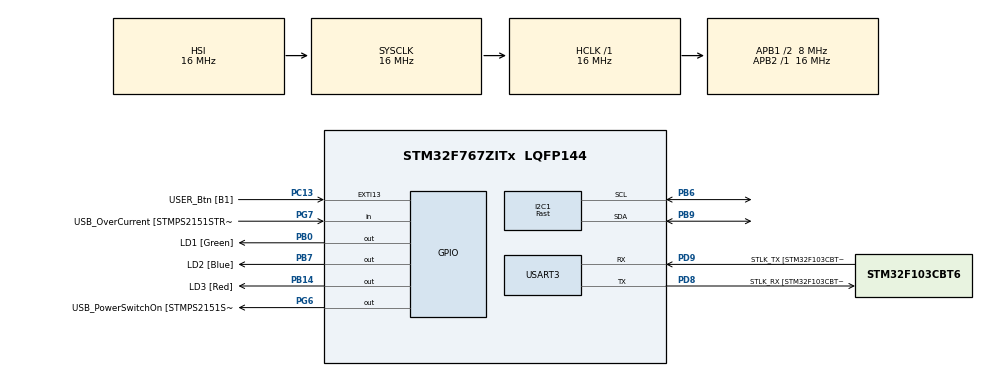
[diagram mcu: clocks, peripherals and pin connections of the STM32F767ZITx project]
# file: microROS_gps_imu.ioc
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FREERTOS.Tasks01=microROS_tx,24,3000,tx_data,Default,NULL,Dynamic,NULL,NULL;data_aq,24,256,getData,Default,NULL,Dynamic,NULL,NULL
I2C1.I2C_Speed_Mode=I2C_Fast
I2C1.Timing=0x0000020B
Mcu.Family=STM32F7
Mcu.Name=STM32F767ZITx
Mcu.Package=LQFP144
NVIC.PriorityGroup=NVIC_PRIORITYGROUP_4
NVIC.TIM6_DAC_IRQn=true\:15\:0\:false\:false\:true\:false\:false\:true\:true
NVIC.TimeBase=TIM6_DAC_IRQn
NVIC.TimeBaseIP=TIM6
NVIC.USART3_IRQn=true\:5\:0\:false\:false\:true\:true\:true\:true\:true
PA1.GPIO_Label=RMII_REF_CLK [LAN8742A-CZ-TR_REFCLK0]
PA1.Signal=ETH_REF_CLK
PA10.GPIO_Label=USB_ID
PA10.Signal=USB_OTG_FS_ID
PA11.GPIO_Label=USB_DM
PA11.Signal=USB_OTG_FS_DM
PA12.GPIO_Label=USB_DP
PA12.Signal=USB_OTG_FS_DP
PA13.GPIO_Label=TMS
PA13.Signal=SYS_JTMS-SWDIO
PA14.GPIO_Label=TCK
PA14.Signal=SYS_JTCK-SWCLK
PA2.GPIO_Label=RMII_MDIO [LAN8742A-CZ-TR_MDIO]
PA2.Signal=ETH_MDIO
PA7.GPIO_Label=RMII_CRS_DV [LAN8742A-CZ-TR_CRS_DV]
PA7.Signal=ETH_CRS_DV
PA8.GPIO_Label=USB_SOF [TP1]
PA8.Signal=USB_OTG_FS_SOF
PA9.GPIO_Label=USB_VBUS
PA9.Signal=USB_OTG_FS_VBUS
PB0.GPIO_Label=LD1 [Green]
PB0.Signal=GPIO_Output
PB13.GPIO_Label=RMII_TXD1 [LAN8742A-CZ-TR_TXD1]
PB13.Signal=ETH_TXD1
PB14.GPIO_Label=LD3 [Red]
PB14.Signal=GPIO_Output
PB3.GPIO_Label=SW0
PB3.Signal=SYS_JTDO-SWO
PB6.Mode=I2C
PB6.Signal=I2C1_SCL
PB7.GPIO_Label=LD2 [Blue]
PB7.Signal=GPIO_Output
PB9.Mode=I2C
PB9.Signal=I2C1_SDA
PC1.GPIO_Label=RMII_MDC [LAN8742A-CZ-TR_MDC]
PC1.Signal=ETH_MDC
PC13.GPIO_Label=USER_Btn [B1]
PC13.Signal=GPXTI13
PC14/OSC32_IN.Signal=RCC_OSC32_IN
PC15/OSC32_OUT.Signal=RCC_OSC32_OUT
PC4.GPIO_Label=RMII_RXD0 [LAN8742A-CZ-TR_RXD0]
PC4.Signal=ETH_RXD0
PC5.GPIO_Label=RMII_RXD1 [LAN8742A-CZ-TR_RXD1]
PC5.Signal=ETH_RXD1
PD8.GPIO_Label=STLK_RX [STM32F103CBT6_PA3]
PD8.Mode=Asynchronous
PD8.Signal=USART3_TX
PD9.GPIO_Label=STLK_TX [STM32F103CBT6_PA2]
PD9.Mode=Asynchronous
PD9.Signal=USART3_RX
PG11.GPIO_Label=RMII_TX_EN [LAN8742A-CZ-TR_TXEN]
PG11.Signal=ETH_TX_EN
PG13.GPIO_Label=RMII_TXD0 [LAN8742A-CZ-TR_TXD0]
PG13.Signal=ETH_TXD0
PG6.GPIO_Label=USB_PowerSwitchOn [STMPS2151STR_EN]
PG6.Signal=GPIO_Output
PG7.GPIO_Label=USB_OverCurrent [STMPS2151STR_FAULT]
PG7.Signal=GPIO_Input
PH0/OSC_IN.GPIO_Label=MCO [STM32F103CBT6_PA8]
PH0/OSC_IN.Signal=RCC_OSC_IN
PH1/OSC_OUT.Signal=RCC_OSC_OUT
ProjectManager.HeapSize=0x200
ProjectManager.StackSize=0x400
ProjectManager.TargetToolchain=STM32CubeIDE
RCC.48MHZClocksFreq_Value=24000000
RCC.AHBFreq_Value=16000000
RCC.APB1CLKDivider=RCC_HCLK_DIV2
RCC.APB1Freq_Value=8000000
RCC.APB1TimFreq_Value=16000000
RCC.APB2Freq_Value=16000000
RCC.APB2TimFreq_Value=16000000
RCC.CortexFreq_Value=16000000
RCC.HCLKFreq_Value=16000000
RCC.HSE_VALUE=16000000
RCC.HSI_VALUE=16000000
RCC.LSE_VALUE=32768
RCC.PLLMUL=RCC_PLL_MUL9
RCC.PRESCALERUSB=RCC_USBCLKSOURCE_PLL_DIV1_5
RCC.SYSCLKFreq_VALUE=16000000
RCC.SYSCLKSourceVirtual=RCC_SYSCLKSOURCE_PLLCLK
RCC.USBFreq_Value=96000000
RCC.VCOOutputFreq_Value=192000000
USART3.VirtualMode-Asynchronous=VM_ASYNC
VP_FREERTOS_VS_CMSIS_V2.Mode=CMSIS_V2
VP_SYS_VS_tim6.Mode=TIM6
board=NUCLEO-F767ZI

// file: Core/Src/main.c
/* USER CODE BEGIN Header */
/**
  ******************************************************************************
  * @file           : main.c
  * @brief          : Main program body
  ******************************************************************************
  * @attention
  *
  * Copyright (c) 2023 STMicroelectronics.
  * All rights reserved.
  *
  * This software is licensed under terms that can be found in the LICENSE file
  * in the root directory of this software component.
  * If no LICENSE file comes with this software, it is provided AS-IS.
  *
  ******************************************************************************
  */
/* USER CODE END Header */
#include "main.h"
#include "cmsis_os.h"
#include <stdlib.h>

/* USER CODE BEGIN Includes */
#include "MPU_6050.h"

#include <rcl/rcl.h>
#include <rcl/error_handling.h>
#include <rclc/rclc.h>
#include <rclc/executor.h>
#include <uxr/client/transport.h>
#include <rmw_microxrcedds_c/config.h>
#include <rmw_microros/rmw_microros.h>

#include <std_msgs/msg/int32.h>
#include <std_msgs/msg/u_int8.h>
#include <example_interfaces/msg/float32.h>
#include <example_interfaces/msg/u_int8_multi_array.h>
#include <example_interfaces/msg/u_int8.h>

/* USER CODE END Includes */

I2C_HandleTypeDef hi2c1;

UART_HandleTypeDef huart3;

/* Definitions for microROS_tx */
osThreadId_t microROS_txHandle;
const osThreadAttr_t microROS_tx_attributes = {
  .name = "microROS_tx",
  .stack_size = 3000 * 4,
  .priority = (osPriority_t) osPriorityNormal,
};
/* Definitions for data_aq */
osThreadId_t data_aqHandle;
const osThreadAttr_t data_aq_attributes = {
  .name = "data_aq",
  .stack_size = 256 * 4,
  .priority = (osPriority_t) osPriorityNormal,
};

void SystemClock_Config(void);
static void MX_GPIO_Init(void);
static void MX_USART3_UART_Init(void);
static void MX_I2C1_Init(void);
void tx_data(void *argument);
void getData(void *argument);

/* USER CODE BEGIN 0 */
/* instantiating mpu_6050_t struct */
mpu_6050_t my_imu;

example_interfaces__msg__UInt8__Sequence ui_array;

example_interfaces__msg__UInt8MultiArray multi_ui_array;

typedef enum
{
	NOT_SEND_DATA,
	SEND_DATA,
}sendData;

uint8_t TX_DATA = NOT_SEND_DATA;

/* USER CODE END 0 */

int main(void)
{

  /* MCU Configuration--------------------------------------------------------*/

  /* Reset of all peripherals, Initializes the Flash interface and the Systick. */
  HAL_Init();

  /* Configure the system clock */
  SystemClock_Config();

  /* Initialize all configured peripherals */
  MX_GPIO_Init();
  MX_USART3_UART_Init();
  MX_I2C1_Init();
  /* USER CODE BEGIN 2 */
	init_MPU_6050(&my_imu, &hi2c1);

	wake(&my_imu);

	set_Sample_Rt(&my_imu);

	accel_Gyro_Config(&my_imu);

	ui_array.data = (example_interfaces__msg__UInt8*)
					malloc(6 * sizeof(example_interfaces__msg__UInt8));

  /* USER CODE END 2 */

  /* Init scheduler */
  osKernelInitialize();

  /* Create the thread(s) */
  /* creation of microROS_tx */
  microROS_txHandle = osThreadNew(tx_data, NULL, &microROS_tx_attributes);

  /* creation of data_aq */
  data_aqHandle = osThreadNew(getData, NULL, &data_aq_attributes);

  /* Start scheduler */
  osKernelStart();

  /* We should never get here as control is now taken by the scheduler */
  /* Infinite loop */
  while (1)
  {

  }
}

void SystemClock_Config(void)
{
  RCC_OscInitTypeDef RCC_OscInitStruct = {0};
  RCC_ClkInitTypeDef RCC_ClkInitStruct = {0};

  /** Configure the main internal regulator output voltage
  */
  __HAL_RCC_PWR_CLK_ENABLE();
  __HAL_PWR_VOLTAGESCALING_CONFIG(PWR_REGULATOR_VOLTAGE_SCALE3);

  /** Initializes the RCC Oscillators according to the specified parameters
  * in the RCC_OscInitTypeDef structure.
  */
  RCC_OscInitStruct.OscillatorType = RCC_OSCILLATORTYPE_HSI;
  RCC_OscInitStruct.HSIState = RCC_HSI_ON;
  RCC_OscInitStruct.HSICalibrationValue = RCC_HSICALIBRATION_DEFAULT;
  RCC_OscInitStruct.PLL.PLLState = RCC_PLL_NONE;
  if (HAL_RCC_OscConfig(&RCC_OscInitStruct) != HAL_OK)
  {
    Error_Handler();
  }

  /** Initializes the CPU, AHB and APB buses clocks
  */
  RCC_ClkInitStruct.ClockType = RCC_CLOCKTYPE_HCLK|RCC_CLOCKTYPE_SYSCLK
                              |RCC_CLOCKTYPE_PCLK1|RCC_CLOCKTYPE_PCLK2;
  RCC_ClkInitStruct.SYSCLKSource = RCC_SYSCLKSOURCE_HSI;
  RCC_ClkInitStruct.AHBCLKDivider = RCC_SYSCLK_DIV1;
  RCC_ClkInitStruct.APB1CLKDivider = RCC_HCLK_DIV2;
  RCC_ClkInitStruct.APB2CLKDivider = RCC_HCLK_DIV1;

  if (HAL_RCC_ClockConfig(&RCC_ClkInitStruct, FLASH_LATENCY_0) != HAL_OK)
  {
    Error_Handler();
  }
}

static void MX_I2C1_Init(void)
{

  hi2c1.Instance = I2C1;
  hi2c1.Init.Timing = 0x0000020B;
  hi2c1.Init.OwnAddress1 = 0;
  hi2c1.Init.AddressingMode = I2C_ADDRESSINGMODE_7BIT;
  hi2c1.Init.DualAddressMode = I2C_DUALADDRESS_DISABLE;
  hi2c1.Init.OwnAddress2 = 0;
  hi2c1.Init.OwnAddress2Masks = I2C_OA2_NOMASK;
  hi2c1.Init.GeneralCallMode = I2C_GENERALCALL_DISABLE;
  hi2c1.Init.NoStretchMode = I2C_NOSTRETCH_DISABLE;
  if (HAL_I2C_Init(&hi2c1) != HAL_OK)
  {
    Error_Handler();
  }

  /** Configure Analogue filter
  */
  if (HAL_I2CEx_ConfigAnalogFilter(&hi2c1, I2C_ANALOGFILTER_ENABLE) != HAL_OK)
  {
    Error_Handler();
  }

  /** Configure Digital filter
  */
  if (HAL_I2CEx_ConfigDigitalFilter(&hi2c1, 0) != HAL_OK)
  {
    Error_Handler();
  }

}

static void MX_USART3_UART_Init(void)
{

  huart3.Instance = USART3;
  huart3.Init.BaudRate = 115200;
  huart3.Init.WordLength = UART_WORDLENGTH_8B;
  huart3.Init.StopBits = UART_STOPBITS_1;
  huart3.Init.Parity = UART_PARITY_NONE;
  huart3.Init.Mode = UART_MODE_TX_RX;
  huart3.Init.HwFlowCtl = UART_HWCONTROL_NONE;
  huart3.Init.OverSampling = UART_OVERSAMPLING_16;
  huart3.Init.OneBitSampling = UART_ONE_BIT_SAMPLE_DISABLE;
  huart3.AdvancedInit.AdvFeatureInit = UART_ADVFEATURE_NO_INIT;
  if (HAL_UART_Init(&huart3) != HAL_OK)
  {
    Error_Handler();
  }

}

static void MX_GPIO_Init(void)
{
  GPIO_InitTypeDef GPIO_InitStruct = {0};

  /* GPIO Ports Clock Enable */
  __HAL_RCC_GPIOC_CLK_ENABLE();
  __HAL_RCC_GPIOH_CLK_ENABLE();
  __HAL_RCC_GPIOA_CLK_ENABLE();
  __HAL_RCC_GPIOB_CLK_ENABLE();
  __HAL_RCC_GPIOD_CLK_ENABLE();
  __HAL_RCC_GPIOG_CLK_ENABLE();

  /*Configure GPIO pin Output Level */
  HAL_GPIO_WritePin(GPIOB, LD1_Pin|LD3_Pin|LD2_Pin, GPIO_PIN_RESET);

  /*Configure GPIO pin Output Level */
  HAL_GPIO_WritePin(USB_PowerSwitchOn_GPIO_Port, USB_PowerSwitchOn_Pin, GPIO_PIN_RESET);

  /*Configure GPIO pin : USER_Btn_Pin */
  GPIO_InitStruct.Pin = USER_Btn_Pin;
  GPIO_InitStruct.Mode = GPIO_MODE_IT_RISING;
  GPIO_InitStruct.Pull = GPIO_NOPULL;
  HAL_GPIO_Init(USER_Btn_GPIO_Port, &GPIO_InitStruct);

  /*Configure GPIO pins : RMII_MDC_Pin RMII_RXD0_Pin RMII_RXD1_Pin */
  GPIO_InitStruct.Pin = RMII_MDC_Pin|RMII_RXD0_Pin|RMII_RXD1_Pin;
  GPIO_InitStruct.Mode = GPIO_MODE_AF_PP;
  GPIO_InitStruct.Pull = GPIO_NOPULL;
  GPIO_InitStruct.Speed = GPIO_SPEED_FREQ_VERY_HIGH;
  GPIO_InitStruct.Alternate = GPIO_AF11_ETH;
  HAL_GPIO_Init(GPIOC, &GPIO_InitStruct);

  /*Configure GPIO pins : RMII_REF_CLK_Pin RMII_MDIO_Pin RMII_CRS_DV_Pin */
  GPIO_InitStruct.Pin = RMII_REF_CLK_Pin|RMII_MDIO_Pin|RMII_CRS_DV_Pin;
  GPIO_InitStruct.Mode = GPIO_MODE_AF_PP;
  GPIO_InitStruct.Pull = GPIO_NOPULL;
  GPIO_InitStruct.Speed = GPIO_SPEED_FREQ_VERY_HIGH;
  GPIO_InitStruct.Alternate = GPIO_AF11_ETH;
  HAL_GPIO_Init(GPIOA, &GPIO_InitStruct);

  /*Configure GPIO pins : LD1_Pin LD3_Pin LD2_Pin */
  GPIO_InitStruct.Pin = LD1_Pin|LD3_Pin|LD2_Pin;
  GPIO_InitStruct.Mode = GPIO_MODE_OUTPUT_PP;
  GPIO_InitStruct.Pull = GPIO_NOPULL;
  GPIO_InitStruct.Speed = GPIO_SPEED_FREQ_LOW;
  HAL_GPIO_Init(GPIOB, &GPIO_InitStruct);

  /*Configure GPIO pin : RMII_TXD1_Pin */
  GPIO_InitStruct.Pin = RMII_TXD1_Pin;
  GPIO_InitStruct.Mode = GPIO_MODE_AF_PP;
  GPIO_InitStruct.Pull = GPIO_NOPULL;
  GPIO_InitStruct.Speed = GPIO_SPEED_FREQ_VERY_HIGH;
  GPIO_InitStruct.Alternate = GPIO_AF11_ETH;
  HAL_GPIO_Init(RMII_TXD1_GPIO_Port, &GPIO_InitStruct);

  /*Configure GPIO pin : USB_PowerSwitchOn_Pin */
  GPIO_InitStruct.Pin = USB_PowerSwitchOn_Pin;
  GPIO_InitStruct.Mode = GPIO_MODE_OUTPUT_PP;
  GPIO_InitStruct.Pull = GPIO_NOPULL;
  GPIO_InitStruct.Speed = GPIO_SPEED_FREQ_LOW;
  HAL_GPIO_Init(USB_PowerSwitchOn_GPIO_Port, &GPIO_InitStruct);

  /*Configure GPIO pin : USB_OverCurrent_Pin */
  GPIO_InitStruct.Pin = USB_OverCurrent_Pin;
  GPIO_InitStruct.Mode = GPIO_MODE_INPUT;
  GPIO_InitStruct.Pull = GPIO_NOPULL;
  HAL_GPIO_Init(USB_OverCurrent_GPIO_Port, &GPIO_InitStruct);

  /*Configure GPIO pins : USB_SOF_Pin USB_ID_Pin USB_DM_Pin USB_DP_Pin */
  GPIO_InitStruct.Pin = USB_SOF_Pin|USB_ID_Pin|USB_DM_Pin|USB_DP_Pin;
  GPIO_InitStruct.Mode = GPIO_MODE_AF_PP;
  GPIO_InitStruct.Pull = GPIO_NOPULL;
  GPIO_InitStruct.Speed = GPIO_SPEED_FREQ_VERY_HIGH;
  GPIO_InitStruct.Alternate = GPIO_AF10_OTG_FS;
  HAL_GPIO_Init(GPIOA, &GPIO_InitStruct);

  /*Configure GPIO pin : USB_VBUS_Pin */
  GPIO_InitStruct.Pin = USB_VBUS_Pin;
  GPIO_InitStruct.Mode = GPIO_MODE_INPUT;
  GPIO_InitStruct.Pull = GPIO_NOPULL;
  HAL_GPIO_Init(USB_VBUS_GPIO_Port, &GPIO_InitStruct);

  /*Configure GPIO pins : RMII_TX_EN_Pin RMII_TXD0_Pin */
  GPIO_InitStruct.Pin = RMII_TX_EN_Pin|RMII_TXD0_Pin;
  GPIO_InitStruct.Mode = GPIO_MODE_AF_PP;
  GPIO_InitStruct.Pull = GPIO_NOPULL;
  GPIO_InitStruct.Speed = GPIO_SPEED_FREQ_VERY_HIGH;
  GPIO_InitStruct.Alternate = GPIO_AF11_ETH;
  HAL_GPIO_Init(GPIOG, &GPIO_InitStruct);

}

/* USER CODE BEGIN 4 */
bool cubemx_transport_open(struct uxrCustomTransport * transport);
bool cubemx_transport_close(struct uxrCustomTransport * transport);
size_t cubemx_transport_write(struct uxrCustomTransport* transport, const uint8_t * buf, size_t len, uint8_t * err);
size_t cubemx_transport_read(struct uxrCustomTransport* transport, uint8_t* buf, size_t len, int timeout, uint8_t* err);

void * microros_allocate(size_t size, void * state);
void microros_deallocate(void * pointer, void * state);
void * microros_reallocate(void * pointer, size_t size, void * state);
void * microros_zero_allocate(size_t number_of_elements, size_t size_of_element, void * state);

/* USER CODE END 4 */

void tx_data(void *argument)
{
  /* USER CODE BEGIN 5 */
	 rmw_uros_set_custom_transport(
	    true,
	    (void *) &huart3,
	    cubemx_transport_open,
	    cubemx_transport_close,
	    cubemx_transport_write,
	    cubemx_transport_read);

	  rcl_allocator_t freeRTOS_allocator = rcutils_get_zero_initialized_allocator();
	  freeRTOS_allocator.allocate = microros_allocate;
	  freeRTOS_allocator.deallocate = microros_deallocate;
	  freeRTOS_allocator.reallocate = microros_reallocate;
	  freeRTOS_allocator.zero_allocate =  microros_zero_allocate;

	  if (!rcutils_set_default_allocator(&freeRTOS_allocator)) {
	      printf("Error on default allocators (line %d)\n", __LINE__);
	  }

	  // micro-ROS app

	  rcl_publisher_t publisher;
	  std_msgs__msg__Int32 msg;
	  rclc_support_t support;
	  rcl_allocator_t allocator;
	  rcl_node_t node;

	  /* My data types */
	  //std_msgs__msg__Float32 Fmsg;
	  std_msgs__msg__UInt8 accel_data;

	  allocator = rcl_get_default_allocator();

	  //create init_options
	  rclc_support_init(&support, 0, NULL, &allocator);

	  // create node
	  rclc_node_init_default(&node, "cubemx_node", "", &support);

	  /* Creating a publisher that can tx uint8_t data */
	  rclc_publisher_init_default(
	    &publisher,
	    &node,
	    ROSIDL_GET_MSG_TYPE_SUPPORT(example_interfaces, msg, UInt8MultiArray),
	    "cubemx_publisher");

//	  ui_array.capacity = 6;
//	  ui_array.size = 0;

	  multi_ui_array.data.data = my_imu.i2c_rx_buff;
	  multi_ui_array.data.capacity = 6;
	  multi_ui_array.data.size = 6;

	  //multi_ui_array.layout.data_offset = 0;

//	  for (int i = 0; i < 6; i++)
//	  {
//		  ui_array.data[i].data = my_imu.i2c_rx_buff[i];
//		  ui_array.size++;
//	  }

	  //accel_data.data = my_imu.i2c_rx_buff[4];

	 //Fmsg.data = my_imu.aZ;

	  for(;;)
	  {
	    //rcl_ret_t ret = rcl_publish(&publisher, &msg, NULL);

		rcl_ret_t ret = rcl_publish(&publisher, &multi_ui_array, NULL);
		if (ret != RCL_RET_OK)
		{
		  printf("Error publishing (line %d)\n", __LINE__);
		}

//		if (get_Accel(&my_imu) != HAL_OK)
//		  HAL_GPIO_TogglePin(GPIOB, GPIO_PIN_0);
//		else
//		{
//			formatAccel(&my_imu);
//
//		    osDelay(1000);
//
//			TX_DATA = SEND_DATA;
//
//			  Fmsg.data = my_imu.aZ;
//
//			rcl_ret_t ret = rcl_publish(&publisher, &Fmsg, NULL);
//			if (ret != RCL_RET_OK)
//			{
//			  printf("Error publishing (line %d)\n", __LINE__);
//			}

//		  Fmsg.data *= 2;
//
//	    if ((int)Fmsg.data > 10000)
//	  	  Fmsg.data = 1;

	    //accel_data.data++;
	    //msg.data++;

		  //accel_data.data++;
		/* 1Khz transmit rate should be good enough for any moving vehicle */
	    osDelay(100);
	  }
  /* USER CODE END 5 */
}

void getData(void *argument)
{
  /* USER CODE BEGIN getData */
  /* Infinite loop */
  for(;;)
  {
	  if (get_Accel(&my_imu) != HAL_OK)
		  HAL_GPIO_TogglePin(GPIOB, GPIO_PIN_0);
	  else
		  formatAccel(&my_imu);

    osDelay(1);
  }
  /* USER CODE END getData */
}

void HAL_TIM_PeriodElapsedCallback(TIM_HandleTypeDef *htim)
{
  if (htim->Instance == TIM6) {
    HAL_IncTick();
  }
}

void Error_Handler(void)
{
  __disable_irq();
  while (1)
  {
  }
}
